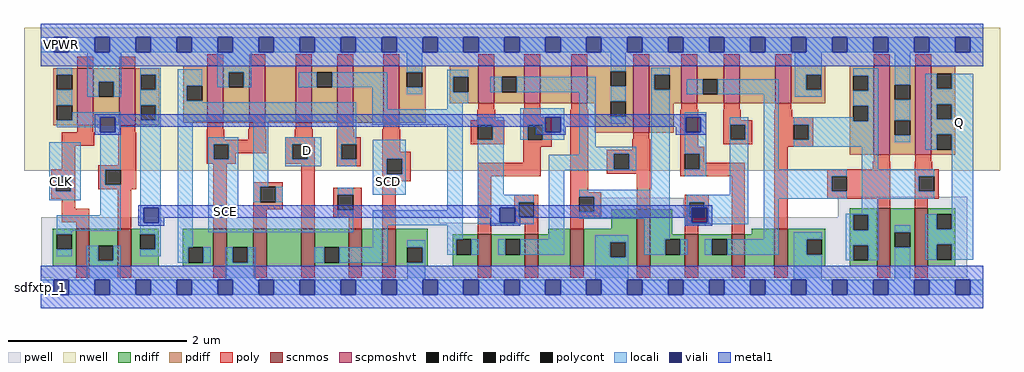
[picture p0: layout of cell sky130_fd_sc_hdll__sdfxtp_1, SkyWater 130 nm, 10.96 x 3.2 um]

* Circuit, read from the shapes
.subckt sky130_fd_sc_hdll__sdfxtp_1 CLK D SCD SCE VGND VNB VPB VPWR Q
XM1 VGND CLK n1 VNB sky130_fd_pr__nfet_01v8 w=0.42 l=0.15
XM2 n2 n1 VGND VNB sky130_fd_pr__nfet_01v8 w=0.42 l=0.15
XM3 VGND SCE n3 VNB sky130_fd_pr__nfet_01v8 w=0.42 l=0.15
XM4 n4 n3 VGND VNB sky130_fd_pr__nfet_01v8 w=0.42 l=0.15
XM5 n5 D n4 VNB sky130_fd_pr__nfet_01v8 w=0.42 l=0.15
XM6 n6 SCE n5 VNB sky130_fd_pr__nfet_01v8 w=0.42 l=0.15
XM7 VGND SCD n6 VNB sky130_fd_pr__nfet_01v8 w=0.42 l=0.15
XM8 n7 n1 n5 VNB sky130_fd_pr__nfet_01v8 w=0.36 l=0.15
XM9 n8 n2 n7 VNB sky130_fd_pr__nfet_01v8 w=0.36 l=0.15
XM10 VGND n9 n8 VNB sky130_fd_pr__nfet_01v8 w=0.42 l=0.15
XM11 n9 n7 VGND VNB sky130_fd_pr__nfet_01v8 w=0.64 l=0.15
XM12 n10 n2 n9 VNB sky130_fd_pr__nfet_01v8 w=0.36 l=0.15
XM13 n11 n1 n10 VNB sky130_fd_pr__nfet_01v8 w=0.36 l=0.15
XM14 VGND n12 n11 VNB sky130_fd_pr__nfet_01v8 w=0.42 l=0.15
XM15 VGND n10 n12 VNB sky130_fd_pr__nfet_01v8 w=0.65 l=0.15
XM16 Q n12 VGND VNB sky130_fd_pr__nfet_01v8 w=0.65 l=0.15
XM17 VPWR CLK n1 VPB sky130_fd_pr__pfet_01v8_hvt w=0.64 l=0.18
XM18 n2 n1 VPWR VPB sky130_fd_pr__pfet_01v8_hvt w=0.64 l=0.18
XM19 VPWR SCE n3 VPB sky130_fd_pr__pfet_01v8_hvt w=0.64 l=0.18
XM20 n13 SCE VPWR VPB sky130_fd_pr__pfet_01v8_hvt w=0.64 l=0.18
XM21 n5 D n13 VPB sky130_fd_pr__pfet_01v8_hvt w=0.64 l=0.18
XM22 n14 n3 n5 VPB sky130_fd_pr__pfet_01v8_hvt w=0.64 l=0.18
XM23 VPWR SCD n14 VPB sky130_fd_pr__pfet_01v8_hvt w=0.64 l=0.18
XM24 n7 n2 n5 VPB sky130_fd_pr__pfet_01v8_hvt w=0.42 l=0.18
XM25 n15 n1 n7 VPB sky130_fd_pr__pfet_01v8_hvt w=0.42 l=0.18
XM26 VPWR n9 n15 VPB sky130_fd_pr__pfet_01v8_hvt w=0.42 l=0.18
XM27 n9 n7 VPWR VPB sky130_fd_pr__pfet_01v8_hvt w=0.75 l=0.18
XM28 n10 n1 n9 VPB sky130_fd_pr__pfet_01v8_hvt w=0.42 l=0.18
XM29 n16 n2 n10 VPB sky130_fd_pr__pfet_01v8_hvt w=0.42 l=0.18
XM30 VPWR n12 n16 VPB sky130_fd_pr__pfet_01v8_hvt w=0.42 l=0.18
XM31 VPWR n10 n12 VPB sky130_fd_pr__pfet_01v8_hvt w=1 l=0.18
XM32 Q n12 VPWR VPB sky130_fd_pr__pfet_01v8_hvt w=1 l=0.18
.ends

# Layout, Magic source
magic
tech sky130A
magscale 1 2
<< nwell >>
rect -38 261 2154 582
<< pwell >>
rect 1255 157 1444 201
rect 1790 157 2080 203
rect 1 145 895 157
rect 1113 145 2080 157
rect 1 21 2080 145
rect 29 -17 63 21
<< scnmos >>
rect 79 47 109 131
rect 173 47 203 131
rect 387 47 417 131
rect 477 47 507 131
rect 585 47 615 131
rect 691 47 721 131
rect 767 47 797 131
rect 981 47 1011 119
rect 1087 47 1117 119
rect 1189 47 1219 131
rect 1338 47 1368 175
rect 1446 47 1476 119
rect 1551 47 1581 119
rect 1647 47 1677 131
rect 1878 47 1908 177
rect 1962 47 1992 177
<< scpmoshvt >>
rect 82 363 118 491
rect 176 363 212 491
rect 374 369 410 497
rect 468 369 504 497
rect 572 369 608 497
rect 666 369 702 497
rect 769 369 805 497
rect 982 413 1018 497
rect 1085 413 1121 497
rect 1191 413 1227 497
rect 1330 347 1366 497
rect 1438 413 1474 497
rect 1534 413 1570 497
rect 1649 413 1685 497
rect 1870 297 1906 497
rect 1964 297 2000 497
<< ndiff >>
rect 27 119 79 131
rect 27 85 35 119
rect 69 85 79 119
rect 27 47 79 85
rect 109 93 173 131
rect 109 59 129 93
rect 163 59 173 93
rect 109 47 173 59
rect 203 119 265 131
rect 203 85 223 119
rect 257 85 265 119
rect 203 47 265 85
rect 319 89 387 131
rect 319 55 331 89
rect 365 55 387 89
rect 319 47 387 55
rect 417 89 477 131
rect 417 55 431 89
rect 465 55 477 89
rect 417 47 477 55
rect 507 47 585 131
rect 615 89 691 131
rect 615 55 636 89
rect 670 55 691 89
rect 615 47 691 55
rect 721 47 767 131
rect 797 89 869 131
rect 1281 131 1338 175
rect 1139 119 1189 131
rect 797 55 823 89
rect 857 55 869 89
rect 797 47 869 55
rect 925 107 981 119
rect 925 73 933 107
rect 967 73 981 107
rect 925 47 981 73
rect 1011 107 1087 119
rect 1011 73 1043 107
rect 1077 73 1087 107
rect 1011 47 1087 73
rect 1117 47 1189 119
rect 1219 101 1338 131
rect 1219 67 1279 101
rect 1313 67 1338 101
rect 1219 47 1338 67
rect 1368 119 1418 175
rect 1816 162 1878 177
rect 1597 119 1647 131
rect 1368 107 1446 119
rect 1368 73 1402 107
rect 1436 73 1446 107
rect 1368 47 1446 73
rect 1476 107 1551 119
rect 1476 73 1507 107
rect 1541 73 1551 107
rect 1476 47 1551 73
rect 1581 47 1647 119
rect 1677 107 1762 131
rect 1677 73 1720 107
rect 1754 73 1762 107
rect 1677 47 1762 73
rect 1816 128 1824 162
rect 1858 128 1878 162
rect 1816 94 1878 128
rect 1816 60 1824 94
rect 1858 60 1878 94
rect 1816 47 1878 60
rect 1908 123 1962 177
rect 1908 89 1918 123
rect 1952 89 1962 123
rect 1908 47 1962 89
rect 1992 164 2054 177
rect 1992 130 2012 164
rect 2046 130 2054 164
rect 1992 96 2054 130
rect 1992 62 2012 96
rect 2046 62 2054 96
rect 1992 47 2054 62
<< pdiff >>
rect 28 477 82 491
rect 28 443 36 477
rect 70 443 82 477
rect 28 409 82 443
rect 28 375 36 409
rect 70 375 82 409
rect 28 363 82 375
rect 118 461 176 491
rect 118 427 130 461
rect 164 427 176 461
rect 118 363 176 427
rect 212 477 266 491
rect 212 443 224 477
rect 258 443 266 477
rect 212 409 266 443
rect 212 375 224 409
rect 258 375 266 409
rect 212 363 266 375
rect 320 452 374 497
rect 320 418 328 452
rect 362 418 374 452
rect 320 369 374 418
rect 410 483 468 497
rect 410 449 422 483
rect 456 449 468 483
rect 410 369 468 449
rect 504 369 572 497
rect 608 483 666 497
rect 608 449 620 483
rect 654 449 666 483
rect 608 369 666 449
rect 702 369 769 497
rect 805 483 864 497
rect 805 449 822 483
rect 856 449 864 483
rect 805 369 864 449
rect 918 472 982 497
rect 918 438 926 472
rect 960 438 982 472
rect 918 413 982 438
rect 1018 472 1085 497
rect 1018 438 1035 472
rect 1069 438 1085 472
rect 1018 413 1085 438
rect 1121 413 1191 497
rect 1227 485 1330 497
rect 1227 451 1280 485
rect 1314 451 1330 485
rect 1227 417 1330 451
rect 1227 413 1280 417
rect 1244 383 1280 413
rect 1314 383 1330 417
rect 1244 347 1330 383
rect 1366 477 1438 497
rect 1366 443 1378 477
rect 1412 443 1438 477
rect 1366 413 1438 443
rect 1474 467 1534 497
rect 1474 433 1486 467
rect 1520 433 1534 467
rect 1474 413 1534 433
rect 1570 413 1649 497
rect 1685 477 1762 497
rect 1685 443 1719 477
rect 1753 443 1762 477
rect 1685 413 1762 443
rect 1816 475 1870 497
rect 1816 441 1824 475
rect 1858 441 1870 475
rect 1366 347 1421 413
rect 1816 407 1870 441
rect 1816 373 1824 407
rect 1858 373 1870 407
rect 1816 297 1870 373
rect 1906 455 1964 497
rect 1906 421 1918 455
rect 1952 421 1964 455
rect 1906 375 1964 421
rect 1906 341 1918 375
rect 1952 341 1964 375
rect 1906 297 1964 341
rect 2000 479 2054 497
rect 2000 445 2012 479
rect 2046 445 2054 479
rect 2000 411 2054 445
rect 2000 377 2012 411
rect 2046 377 2054 411
rect 2000 343 2054 377
rect 2000 309 2012 343
rect 2046 309 2054 343
rect 2000 297 2054 309
<< ndiffc >>
rect 35 85 69 119
rect 129 59 163 93
rect 223 85 257 119
rect 331 55 365 89
rect 431 55 465 89
rect 636 55 670 89
rect 823 55 857 89
rect 933 73 967 107
rect 1043 73 1077 107
rect 1279 67 1313 101
rect 1402 73 1436 107
rect 1507 73 1541 107
rect 1720 73 1754 107
rect 1824 128 1858 162
rect 1824 60 1858 94
rect 1918 89 1952 123
rect 2012 130 2046 164
rect 2012 62 2046 96
<< pdiffc >>
rect 36 443 70 477
rect 36 375 70 409
rect 130 427 164 461
rect 224 443 258 477
rect 224 375 258 409
rect 328 418 362 452
rect 422 449 456 483
rect 620 449 654 483
rect 822 449 856 483
rect 926 438 960 472
rect 1035 438 1069 472
rect 1280 451 1314 485
rect 1280 383 1314 417
rect 1378 443 1412 477
rect 1486 433 1520 467
rect 1719 443 1753 477
rect 1824 441 1858 475
rect 1824 373 1858 407
rect 1918 421 1952 455
rect 1918 341 1952 375
rect 2012 445 2046 479
rect 2012 377 2046 411
rect 2012 309 2046 343
<< poly >>
rect 82 491 118 517
rect 176 491 212 517
rect 374 497 410 523
rect 468 497 504 523
rect 572 497 608 523
rect 666 497 702 523
rect 769 497 805 523
rect 982 497 1018 523
rect 1085 497 1121 523
rect 1191 497 1227 523
rect 1330 497 1366 523
rect 1438 497 1474 523
rect 1534 497 1570 523
rect 1649 497 1685 523
rect 1870 497 1906 523
rect 1964 497 2000 523
rect 982 398 1018 413
rect 1085 398 1121 413
rect 1191 398 1227 413
rect 980 375 1020 398
rect 1083 381 1123 398
rect 82 348 118 363
rect 176 348 212 363
rect 374 354 410 369
rect 468 354 504 369
rect 572 354 608 369
rect 666 354 702 369
rect 769 354 805 369
rect 965 365 1041 375
rect 47 318 120 348
rect 47 265 77 318
rect 174 274 214 348
rect 372 331 412 354
rect 466 331 506 354
rect 570 337 610 354
rect 664 337 704 354
rect 372 321 506 331
rect 372 287 388 321
rect 422 301 506 321
rect 549 321 615 337
rect 422 287 438 301
rect 372 277 438 287
rect 549 287 565 321
rect 599 287 615 321
rect 549 277 615 287
rect 23 249 77 265
rect 23 215 33 249
rect 67 215 77 249
rect 129 264 214 274
rect 129 230 145 264
rect 179 230 214 264
rect 129 220 214 230
rect 23 199 77 215
rect 47 176 77 199
rect 47 146 109 176
rect 79 131 109 146
rect 173 131 203 220
rect 387 131 417 277
rect 477 225 543 235
rect 477 191 493 225
rect 527 191 543 225
rect 477 175 543 191
rect 477 131 507 175
rect 585 131 615 277
rect 664 321 718 337
rect 664 287 674 321
rect 708 287 718 321
rect 664 271 718 287
rect 767 304 807 354
rect 965 331 981 365
rect 1015 331 1041 365
rect 965 321 1041 331
rect 1083 365 1147 381
rect 1083 331 1093 365
rect 1127 331 1147 365
rect 1083 315 1147 331
rect 767 288 831 304
rect 767 254 777 288
rect 811 254 831 288
rect 1083 279 1123 315
rect 767 238 831 254
rect 981 249 1123 279
rect 657 207 721 223
rect 657 173 667 207
rect 701 173 721 207
rect 657 157 721 173
rect 691 131 721 157
rect 767 131 797 238
rect 981 119 1011 249
rect 1189 213 1229 398
rect 1438 398 1474 413
rect 1534 398 1570 413
rect 1649 398 1685 413
rect 1330 332 1366 347
rect 1328 309 1368 332
rect 1271 299 1368 309
rect 1271 265 1287 299
rect 1321 265 1368 299
rect 1271 255 1368 265
rect 1063 191 1117 207
rect 1063 157 1073 191
rect 1107 157 1117 191
rect 1063 141 1117 157
rect 1087 119 1117 141
rect 1189 203 1259 213
rect 1189 169 1209 203
rect 1243 169 1259 203
rect 1338 175 1368 255
rect 1436 315 1476 398
rect 1532 375 1572 398
rect 1647 381 1687 398
rect 1532 365 1598 375
rect 1532 331 1548 365
rect 1582 331 1598 365
rect 1532 321 1598 331
rect 1647 365 1735 381
rect 1647 331 1691 365
rect 1725 331 1735 365
rect 1647 315 1735 331
rect 1436 299 1490 315
rect 1436 265 1446 299
rect 1480 279 1490 299
rect 1480 265 1581 279
rect 1436 249 1581 265
rect 1446 191 1500 207
rect 1189 159 1259 169
rect 1189 131 1219 159
rect 1446 157 1456 191
rect 1490 157 1500 191
rect 1446 141 1500 157
rect 1446 119 1476 141
rect 1551 119 1581 249
rect 1647 131 1677 315
rect 1870 282 1906 297
rect 1964 282 2000 297
rect 1868 265 1908 282
rect 1766 249 1908 265
rect 1766 215 1776 249
rect 1810 215 1908 249
rect 1766 199 1908 215
rect 1878 177 1908 199
rect 1962 265 2002 282
rect 1962 249 2016 265
rect 1962 215 1972 249
rect 2006 215 2016 249
rect 1962 199 2016 215
rect 1962 177 1992 199
rect 79 21 109 47
rect 173 21 203 47
rect 387 21 417 47
rect 477 21 507 47
rect 585 21 615 47
rect 691 21 721 47
rect 767 21 797 47
rect 981 21 1011 47
rect 1087 21 1117 47
rect 1189 21 1219 47
rect 1338 21 1368 47
rect 1446 21 1476 47
rect 1551 21 1581 47
rect 1647 21 1677 47
rect 1878 21 1908 47
rect 1962 21 1992 47
<< polycont >>
rect 388 287 422 321
rect 565 287 599 321
rect 33 215 67 249
rect 145 230 179 264
rect 493 191 527 225
rect 674 287 708 321
rect 981 331 1015 365
rect 1093 331 1127 365
rect 777 254 811 288
rect 667 173 701 207
rect 1287 265 1321 299
rect 1073 157 1107 191
rect 1209 169 1243 203
rect 1548 331 1582 365
rect 1691 331 1725 365
rect 1446 265 1480 299
rect 1456 157 1490 191
rect 1776 215 1810 249
rect 1972 215 2006 249
<< locali >>
rect 0 527 29 561
rect 63 527 121 561
rect 155 527 213 561
rect 247 527 305 561
rect 339 527 397 561
rect 431 527 489 561
rect 523 527 581 561
rect 615 527 673 561
rect 707 527 765 561
rect 799 527 857 561
rect 891 527 949 561
rect 983 527 1041 561
rect 1075 527 1133 561
rect 1167 527 1225 561
rect 1259 527 1317 561
rect 1351 527 1409 561
rect 1443 527 1501 561
rect 1535 527 1593 561
rect 1627 527 1685 561
rect 1719 527 1777 561
rect 1811 527 1869 561
rect 1903 527 1961 561
rect 1995 527 2053 561
rect 2087 527 2116 561
rect 36 477 70 493
rect 36 409 70 443
rect 104 461 180 527
rect 104 427 130 461
rect 164 427 180 461
rect 223 477 269 493
rect 223 443 224 477
rect 258 443 269 477
rect 223 409 269 443
rect 70 382 179 393
rect 70 375 133 382
rect 36 359 133 375
rect 167 348 179 382
rect 19 249 89 325
rect 19 215 33 249
rect 67 215 89 249
rect 19 195 89 215
rect 133 264 179 348
rect 133 230 145 264
rect 133 161 179 230
rect 35 127 179 161
rect 223 375 224 409
rect 258 375 269 409
rect 223 178 269 375
rect 223 144 231 178
rect 265 144 269 178
rect 35 119 69 127
rect 223 119 269 144
rect 35 69 69 85
rect 103 59 129 93
rect 163 59 179 93
rect 257 85 269 119
rect 223 69 269 85
rect 307 452 362 489
rect 307 418 328 452
rect 396 483 472 527
rect 822 483 856 527
rect 396 449 422 483
rect 456 449 472 483
rect 579 449 620 483
rect 654 449 778 483
rect 307 415 362 418
rect 307 372 708 415
rect 307 89 341 372
rect 376 321 443 337
rect 376 287 388 321
rect 422 287 443 321
rect 376 157 443 287
rect 477 225 511 372
rect 549 321 630 337
rect 549 287 565 321
rect 599 287 630 321
rect 549 271 630 287
rect 666 321 708 372
rect 744 399 778 449
rect 822 433 856 449
rect 913 472 960 488
rect 1280 485 1314 527
rect 913 438 926 472
rect 1009 438 1035 472
rect 1069 438 1246 472
rect 913 413 960 438
rect 913 399 947 413
rect 744 365 947 399
rect 1077 382 1175 402
rect 666 287 674 321
rect 666 271 708 287
rect 745 288 819 331
rect 745 254 777 288
rect 811 254 819 288
rect 477 191 493 225
rect 527 191 543 225
rect 667 207 701 223
rect 745 207 819 254
rect 913 173 947 365
rect 667 157 701 173
rect 376 123 701 157
rect 745 139 947 173
rect 981 365 1039 381
rect 1015 331 1039 365
rect 1077 365 1133 382
rect 1077 331 1093 365
rect 1127 348 1133 365
rect 1167 348 1175 382
rect 1127 331 1175 348
rect 981 207 1039 331
rect 1209 315 1246 438
rect 1280 417 1314 451
rect 1280 367 1314 383
rect 1371 477 1412 493
rect 1371 443 1378 477
rect 1693 477 1754 527
rect 1209 299 1337 315
rect 1209 297 1287 299
rect 1141 265 1287 297
rect 1321 265 1337 299
rect 1141 263 1337 265
rect 981 191 1107 207
rect 981 178 1073 191
rect 981 144 1031 178
rect 1065 157 1073 178
rect 1065 144 1107 157
rect 981 141 1107 144
rect 745 89 779 139
rect 913 107 947 139
rect 1141 107 1175 263
rect 1371 219 1412 443
rect 1450 433 1486 467
rect 1520 433 1657 467
rect 1446 382 1494 393
rect 1446 348 1448 382
rect 1482 348 1494 382
rect 1446 299 1494 348
rect 1480 265 1494 299
rect 1446 249 1494 265
rect 1547 365 1589 381
rect 1547 331 1548 365
rect 1582 331 1589 365
rect 1209 203 1412 219
rect 1547 207 1589 331
rect 1243 169 1412 203
rect 1209 153 1412 169
rect 103 17 179 59
rect 307 55 331 89
rect 365 55 381 89
rect 415 55 431 89
rect 465 55 481 89
rect 614 55 636 89
rect 670 55 779 89
rect 823 89 863 105
rect 857 55 863 89
rect 913 73 933 107
rect 967 73 983 107
rect 1027 73 1043 107
rect 1077 73 1175 107
rect 1245 101 1319 117
rect 415 17 481 55
rect 823 17 863 55
rect 1245 67 1279 101
rect 1313 67 1319 101
rect 1355 107 1412 153
rect 1450 191 1589 207
rect 1450 157 1456 191
rect 1490 178 1589 191
rect 1450 144 1462 157
rect 1496 144 1589 178
rect 1450 141 1589 144
rect 1623 265 1657 433
rect 1693 443 1719 477
rect 1753 443 1754 477
rect 1693 427 1754 443
rect 1824 475 1881 491
rect 1858 441 1881 475
rect 1824 407 1881 441
rect 1691 373 1824 381
rect 1858 373 1881 407
rect 1691 365 1881 373
rect 1725 331 1881 365
rect 1691 315 1881 331
rect 1918 455 1952 527
rect 1918 375 1952 421
rect 1918 325 1952 341
rect 1986 445 2012 479
rect 2046 445 2094 479
rect 1986 411 2094 445
rect 1986 377 2012 411
rect 2046 377 2094 411
rect 1986 343 2094 377
rect 1844 265 1881 315
rect 1986 309 2012 343
rect 1623 249 1810 265
rect 1623 215 1776 249
rect 1623 199 1810 215
rect 1844 249 2006 265
rect 1844 215 1972 249
rect 1844 199 2006 215
rect 1623 107 1657 199
rect 1844 165 1880 199
rect 1808 162 1880 165
rect 1808 128 1824 162
rect 1858 128 1880 162
rect 1355 73 1402 107
rect 1436 73 1452 107
rect 1491 73 1507 107
rect 1541 73 1657 107
rect 1691 107 1754 123
rect 1691 73 1720 107
rect 1245 17 1319 67
rect 1691 17 1754 73
rect 1808 94 1880 128
rect 1808 60 1824 94
rect 1858 60 1880 94
rect 1918 123 1952 139
rect 1918 17 1952 89
rect 1986 130 2012 164
rect 2046 130 2094 343
rect 1986 96 2094 130
rect 1986 62 2012 96
rect 2046 62 2094 96
rect 1986 61 2094 62
rect 0 -17 29 17
rect 63 -17 121 17
rect 155 -17 213 17
rect 247 -17 305 17
rect 339 -17 397 17
rect 431 -17 489 17
rect 523 -17 581 17
rect 615 -17 673 17
rect 707 -17 765 17
rect 799 -17 857 17
rect 891 -17 949 17
rect 983 -17 1041 17
rect 1075 -17 1133 17
rect 1167 -17 1225 17
rect 1259 -17 1317 17
rect 1351 -17 1409 17
rect 1443 -17 1501 17
rect 1535 -17 1593 17
rect 1627 -17 1685 17
rect 1719 -17 1777 17
rect 1811 -17 1869 17
rect 1903 -17 1961 17
rect 1995 -17 2053 17
rect 2087 -17 2116 17
<< viali >>
rect 29 527 63 561
rect 121 527 155 561
rect 213 527 247 561
rect 305 527 339 561
rect 397 527 431 561
rect 489 527 523 561
rect 581 527 615 561
rect 673 527 707 561
rect 765 527 799 561
rect 857 527 891 561
rect 949 527 983 561
rect 1041 527 1075 561
rect 1133 527 1167 561
rect 1225 527 1259 561
rect 1317 527 1351 561
rect 1409 527 1443 561
rect 1501 527 1535 561
rect 1593 527 1627 561
rect 1685 527 1719 561
rect 1777 527 1811 561
rect 1869 527 1903 561
rect 1961 527 1995 561
rect 2053 527 2087 561
rect 133 348 167 382
rect 231 144 265 178
rect 1133 348 1167 382
rect 1031 144 1065 178
rect 1448 348 1482 382
rect 1462 157 1490 178
rect 1490 157 1496 178
rect 1462 144 1496 157
rect 29 -17 63 17
rect 121 -17 155 17
rect 213 -17 247 17
rect 305 -17 339 17
rect 397 -17 431 17
rect 489 -17 523 17
rect 581 -17 615 17
rect 673 -17 707 17
rect 765 -17 799 17
rect 857 -17 891 17
rect 949 -17 983 17
rect 1041 -17 1075 17
rect 1133 -17 1167 17
rect 1225 -17 1259 17
rect 1317 -17 1351 17
rect 1409 -17 1443 17
rect 1501 -17 1535 17
rect 1593 -17 1627 17
rect 1685 -17 1719 17
rect 1777 -17 1811 17
rect 1869 -17 1903 17
rect 1961 -17 1995 17
rect 2053 -17 2087 17
<< metal1 >>
rect 0 561 2116 592
rect 0 527 29 561
rect 63 527 121 561
rect 155 527 213 561
rect 247 527 305 561
rect 339 527 397 561
rect 431 527 489 561
rect 523 527 581 561
rect 615 527 673 561
rect 707 527 765 561
rect 799 527 857 561
rect 891 527 949 561
rect 983 527 1041 561
rect 1075 527 1133 561
rect 1167 527 1225 561
rect 1259 527 1317 561
rect 1351 527 1409 561
rect 1443 527 1501 561
rect 1535 527 1593 561
rect 1627 527 1685 561
rect 1719 527 1777 561
rect 1811 527 1869 561
rect 1903 527 1961 561
rect 1995 527 2053 561
rect 2087 527 2116 561
rect 0 496 2116 527
rect 121 382 1494 388
rect 121 348 133 382
rect 167 360 1133 382
rect 167 348 179 360
rect 121 342 179 348
rect 1111 348 1133 360
rect 1167 360 1448 382
rect 1167 348 1179 360
rect 1111 342 1179 348
rect 1426 348 1448 360
rect 1482 348 1494 382
rect 1426 342 1494 348
rect 219 178 1508 184
rect 219 144 231 178
rect 265 156 1031 178
rect 265 144 277 156
rect 219 138 277 144
rect 1009 144 1031 156
rect 1065 156 1462 178
rect 1065 144 1077 156
rect 1009 138 1077 144
rect 1446 144 1462 156
rect 1496 144 1508 178
rect 1446 138 1508 144
rect 0 17 2116 48
rect 0 -17 29 17
rect 63 -17 121 17
rect 155 -17 213 17
rect 247 -17 305 17
rect 339 -17 397 17
rect 431 -17 489 17
rect 523 -17 581 17
rect 615 -17 673 17
rect 707 -17 765 17
rect 799 -17 857 17
rect 891 -17 949 17
rect 983 -17 1041 17
rect 1075 -17 1133 17
rect 1167 -17 1225 17
rect 1259 -17 1317 17
rect 1351 -17 1409 17
rect 1443 -17 1501 17
rect 1535 -17 1593 17
rect 1627 -17 1685 17
rect 1719 -17 1777 17
rect 1811 -17 1869 17
rect 1903 -17 1961 17
rect 1995 -17 2053 17
rect 2087 -17 2116 17
rect 0 -48 2116 -17
<< labels >>
rlabel comment s 0 0 0 0 4 sdfxtp_1
flabel metal1 s 29 527 63 561 0 FreeSans 200 0 0 0 VPWR
port 8 nsew power bidirectional
flabel metal1 s 29 -17 63 17 0 FreeSans 200 0 0 0 VGND
port 5 nsew ground bidirectional
flabel locali s 29 221 63 255 0 FreeSans 400 0 0 0 CLK
port 1 nsew signal input
flabel locali s 2046 353 2080 387 0 FreeSans 300 0 0 0 Q
port 9 nsew signal output
flabel locali s 764 221 798 255 0 FreeSans 300 0 0 0 SCD
port 3 nsew signal input
flabel locali s 581 289 615 323 0 FreeSans 300 0 0 0 D
port 2 nsew signal input
flabel locali s 397 152 431 186 0 FreeSans 300 0 0 0 SCE
port 4 nsew signal input
flabel nwell s 29 527 63 561 0 FreeSans 200 0 0 0 VPB
port 7 nsew power bidirectional
flabel nwell s 46 544 46 544 0 FreeSans 200 0 0 0 VPB
port 7 nsew
flabel pwell s 29 -17 63 17 0 FreeSans 200 0 0 0 VNB
port 6 nsew ground bidirectional
flabel pwell s 46 0 46 0 0 FreeSans 200 0 0 0 VNB
port 6 nsew
<< properties >>
string LEFsite unithd
string LEFclass CORE
string FIXED_BBOX 0 0 2116 544
string GDS_FILE $PDKPATH/libs.ref/sky130_fd_sc_hdll/gds/sky130_fd_sc_hdll.gds
string LEFsymmetry X Y R90
string GDS_END 2850412
string GDS_START 2835282
string LEFproperties maskLayoutSubType "abstract" prCellType "standard" originalViewName "layout"
<< end >>
